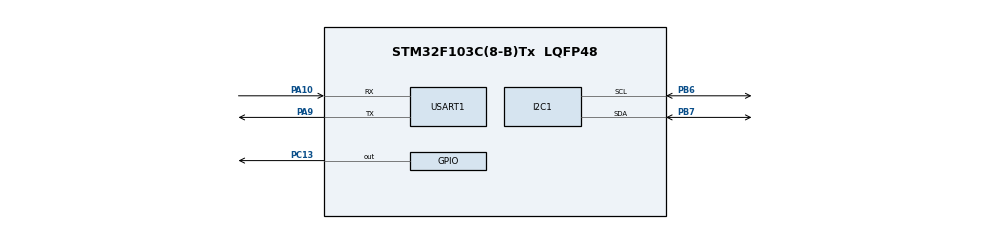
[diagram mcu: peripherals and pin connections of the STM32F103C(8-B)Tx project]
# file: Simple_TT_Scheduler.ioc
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Dma.Request0=USART1_RX
Dma.USART1_RX.0.Direction=DMA_PERIPH_TO_MEMORY
Dma.USART1_RX.0.Instance=DMA1_Channel5
Dma.USART1_RX.0.MemDataAlignment=DMA_MDATAALIGN_BYTE
Dma.USART1_RX.0.MemInc=DMA_MINC_ENABLE
Dma.USART1_RX.0.Mode=DMA_NORMAL
Dma.USART1_RX.0.PeriphDataAlignment=DMA_PDATAALIGN_BYTE
Dma.USART1_RX.0.PeriphInc=DMA_PINC_DISABLE
Dma.USART1_RX.0.Priority=DMA_PRIORITY_LOW
Mcu.Family=STM32F1
Mcu.Name=STM32F103C(8-B)Tx
Mcu.Package=LQFP48
NVIC.DMA1_Channel5_IRQn=true\:0\:0\:false\:false\:true\:false\:true\:true
NVIC.PriorityGroup=NVIC_PRIORITYGROUP_4
NVIC.TIM2_IRQn=true\:0\:0\:false\:false\:true\:true\:true\:true
NVIC.USART1_IRQn=true\:0\:0\:false\:false\:true\:true\:true\:true
PA10.Mode=Asynchronous
PA10.Signal=USART1_RX
PA13.Mode=Serial_Wire
PA13.Signal=SYS_JTMS-SWDIO
PA14.Mode=Serial_Wire
PA14.Signal=SYS_JTCK-SWCLK
PA9.Mode=Asynchronous
PA9.Signal=USART1_TX
PB6.Mode=I2C
PB6.Signal=I2C1_SCL
PB7.Mode=I2C
PB7.Signal=I2C1_SDA
PC13-TAMPER-RTC.Signal=GPIO_Output
ProjectManager.HeapSize=0x200
ProjectManager.StackSize=0x400
ProjectManager.TargetToolchain=CMake
RCC.AHBFreq_Value=36000000
RCC.APB1CLKDivider=RCC_HCLK_DIV2
RCC.APB1Freq_Value=18000000
RCC.APB1TimFreq_Value=36000000
RCC.APB2Freq_Value=36000000
RCC.APB2TimFreq_Value=36000000
RCC.HCLKFreq_Value=36000000
RCC.PLLMUL=RCC_PLL_MUL9
RCC.SYSCLKFreq_VALUE=36000000
RCC.SYSCLKSource=RCC_SYSCLKSOURCE_PLLCLK
RCC.USBFreq_Value=36000000
TIM2.Period=2000
TIM2.Prescaler=35999
USART1.VirtualMode=VM_ASYNC
VP_TIM2_VS_ClockSourceINT.Mode=Internal
board=custom

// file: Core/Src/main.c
/* USER CODE BEGIN Header */
/**
 ******************************************************************************
 * @file           : main.c
 * @brief          : Main program body
 ******************************************************************************
 * @attention
 *
 * Copyright (c) 2026 STMicroelectronics.
 * All rights reserved.
 *
 * This software is licensed under terms that can be found in the LICENSE file
 * in the root directory of this software component.
 * If no LICENSE file comes with this software, it is provided AS-IS.
 *
 ******************************************************************************
 */
/* USER CODE END Header */
#include "main.h"

/* USER CODE BEGIN Includes */
#include "mylib.h"
#include <string.h>
#include <stdio.h>
/* USER CODE END Includes */

I2C_HandleTypeDef hi2c1;

TIM_HandleTypeDef htim2;

UART_HandleTypeDef huart1;
DMA_HandleTypeDef hdma_usart1_rx;

I2C_LCD_HandleTypeDef hlcd1; // Tên phải khớp với biến trong i2c_lcd.c
sht3x_handle_t hsht3x;       // Tên phải khớp với biến khởi tạo SHT3x
uint8_t rx_buffer[15];       // Biến này bạn đã khai báo bên mylib.c
char disp[16];
/* USER CODE BEGIN PV */
hTask program;
volatile uint32_t tick_count = 0; // Biến đếm nhịp tim hệ thống
// Cờ báo hiệu đến chu kỳ P
// uint32_t period_p = 100;         // Ví dụ chu kỳ P là 100ms (dùng để quan sát/logic)

void UART_SendString(char *str)
{
  // Sử dụng HAL_UART_Transmit để gửi chuỗi
  // strlen(str) tự động tính toán độ dài chuỗi truyền vào
  // Timeout 100ms để đảm bảo không bị treo nếu bus UART bận
  HAL_UART_Transmit(&huart1, (uint8_t *)str, strlen(str), 100);
}

TaskFunction_t TaskTable[] =
    {
        update_sensor_data, // k=0
        display_temp,       // k=1
        display_humid,      // k=2
        send_humid_uart,
        send_temp_uart // k=3
};

#define TASK_COUNT (sizeof(TaskTable) / sizeof(TaskTable[0]))

// Khai báo các Task
// void Task1(void);
// void Task2(void);
// void Task3(void);

/* USER CODE END PV */

void SystemClock_Config(void);
static void MX_GPIO_Init(void);
static void MX_DMA_Init(void);
static void MX_TIM2_Init(void);
static void MX_I2C1_Init(void);
static void MX_USART1_UART_Init(void);

int main(void)
{

  /* USER CODE BEGIN 1 */
  hlcd1.hi2c = &hi2c1;
  hlcd1.address = 0x27 << 1;

  hsht3x.i2c_handle = &hi2c1;
  hsht3x.device_address = 0x44;

  /* USER CODE END 1 */

  /* MCU Configuration--------------------------------------------------------*/

  /* Reset of all peripherals, Initializes the Flash interface and the Systick. */
  HAL_Init();

  /* USER CODE BEGIN Init */
  sht3x_init(&hsht3x);
  lcd_init(&hlcd1);

  /* USER CODE END Init */

  /* Configure the system clock */
  SystemClock_Config();

  /* Initialize all configured peripherals */
  MX_GPIO_Init();
  MX_DMA_Init();
  MX_TIM2_Init();
  MX_I2C1_Init();
  MX_USART1_UART_Init();
  /* USER CODE BEGIN 2 */
  // 2. Khởi tạo cấu trúc quản lý task

  program.period = 1000; // Mặc định ban đầu P = 500ms
  // Cấp các con trỏ handle (tùy vào tên khai báo trong main.h)

  program.huart1 = &huart1;
  program.hlcd1 = &hlcd1;
  program.hsht3x = &hsht3x;

  // 3. Khởi động các chế độ ngắt và DMA

  HAL_UARTEx_ReceiveToIdle_DMA(program.huart1, rx_buffer, 15); // Lắng nghe UART
  HAL_TIM_Base_Start_IT(&htim2);
  HAL_UARTEx_ReceiveToIdle_DMA(program.huart1, rx_buffer, 15);

  snprintf(disp, sizeof(disp), "P:%dms", program.period);

  lcd_gotoxy(program.hlcd1, 0, 1);

  lcd_puts(program.hlcd1, disp);
  /* USER CODE END 2 */

  /* Infinite loop */
  /* USER CODE BEGIN WHILE */
  // Update_Scheduler_Period(10000);

  uint32_t last_time = HAL_GetTick();
  int k = 0;
  while (1)
  {
    // take_uart();

    /* USER CODE END WHILE */

    /* USER CODE BEGIN 3 */
    // --- NHÓM TASK ĐỊNH KỲ (Time-Triggered) ---

    // Kiểm tra nếu đã đủ thời gian P (tính bằng tick_count * 10ms)

    // if (HAL_GetTick()-last_time>program.period)
    // {
    //   last_time+=program.period;
    //   update_sensor_data(); // Đọc cảm biến

    //   display_temp(); // Hiển thị LCD
    //   display_humid();

    //   send_temp_uart(); // Gửi dữ liệu lên máy tính
    //   send_humid_uart();

    //   tick_count = 0; // Reset bộ đếm cho chu kỳ tiếp theo
    // }

    // // --- NHÓM TASK ĐÁP ỨNG NHANH (Background Task) ---
    // // Luôn chạy để bắt lệnh "SET:xxxx" và phản hồi log ngay lập tức
    // take_uart();
    // send_log_uart();

    // Mo hinh don nhiem 2:
    if (tick_count > program.period)
    {
      tick_count = 0;
      if (k == TASK_COUNT) k = 0;
      TaskTable[k]();
      k++;
    }
    take_uart();
    send_log_uart();
  }
  /* USER CODE END 3 */
}

void SystemClock_Config(void)
{
  RCC_OscInitTypeDef RCC_OscInitStruct = {0};
  RCC_ClkInitTypeDef RCC_ClkInitStruct = {0};

  /** Initializes the RCC Oscillators according to the specified parameters
   * in the RCC_OscInitTypeDef structure.
   */
  RCC_OscInitStruct.OscillatorType = RCC_OSCILLATORTYPE_HSE;
  RCC_OscInitStruct.HSEState = RCC_HSE_ON;
  RCC_OscInitStruct.HSEPredivValue = RCC_HSE_PREDIV_DIV1;
  RCC_OscInitStruct.HSIState = RCC_HSI_ON;
  RCC_OscInitStruct.PLL.PLLState = RCC_PLL_ON;
  RCC_OscInitStruct.PLL.PLLSource = RCC_PLLSOURCE_HSE;
  RCC_OscInitStruct.PLL.PLLMUL = RCC_PLL_MUL9;
  if (HAL_RCC_OscConfig(&RCC_OscInitStruct) != HAL_OK)
  {
    Error_Handler();
  }

  /** Initializes the CPU, AHB and APB buses clocks
   */
  RCC_ClkInitStruct.ClockType = RCC_CLOCKTYPE_HCLK | RCC_CLOCKTYPE_SYSCLK | RCC_CLOCKTYPE_PCLK1 | RCC_CLOCKTYPE_PCLK2;
  RCC_ClkInitStruct.SYSCLKSource = RCC_SYSCLKSOURCE_PLLCLK;
  RCC_ClkInitStruct.AHBCLKDivider = RCC_SYSCLK_DIV1;
  RCC_ClkInitStruct.APB1CLKDivider = RCC_HCLK_DIV2;
  RCC_ClkInitStruct.APB2CLKDivider = RCC_HCLK_DIV1;

  if (HAL_RCC_ClockConfig(&RCC_ClkInitStruct, FLASH_LATENCY_2) != HAL_OK)
  {
    Error_Handler();
  }
}

static void MX_I2C1_Init(void)
{

  hi2c1.Instance = I2C1;
  hi2c1.Init.ClockSpeed = 100000;
  hi2c1.Init.DutyCycle = I2C_DUTYCYCLE_2;
  hi2c1.Init.OwnAddress1 = 0;
  hi2c1.Init.AddressingMode = I2C_ADDRESSINGMODE_7BIT;
  hi2c1.Init.DualAddressMode = I2C_DUALADDRESS_DISABLE;
  hi2c1.Init.OwnAddress2 = 0;
  hi2c1.Init.GeneralCallMode = I2C_GENERALCALL_DISABLE;
  hi2c1.Init.NoStretchMode = I2C_NOSTRETCH_DISABLE;
  if (HAL_I2C_Init(&hi2c1) != HAL_OK)
  {
    Error_Handler();
  }
}

static void MX_TIM2_Init(void)
{

  TIM_ClockConfigTypeDef sClockSourceConfig = {0};
  TIM_MasterConfigTypeDef sMasterConfig = {0};

  /* USER CODE BEGIN TIM2_Init 1 */
  // 36Mhz
  /* USER CODE END TIM2_Init 1 */
  htim2.Instance = TIM2;
  htim2.Init.Prescaler = 35;
  htim2.Init.CounterMode = TIM_COUNTERMODE_UP;
  htim2.Init.Period = 999;
  htim2.Init.ClockDivision = TIM_CLOCKDIVISION_DIV1;
  htim2.Init.AutoReloadPreload = TIM_AUTORELOAD_PRELOAD_DISABLE;
  if (HAL_TIM_Base_Init(&htim2) != HAL_OK)
  {
    Error_Handler();
  }
  sClockSourceConfig.ClockSource = TIM_CLOCKSOURCE_INTERNAL;
  if (HAL_TIM_ConfigClockSource(&htim2, &sClockSourceConfig) != HAL_OK)
  {
    Error_Handler();
  }
  sMasterConfig.MasterOutputTrigger = TIM_TRGO_RESET;
  sMasterConfig.MasterSlaveMode = TIM_MASTERSLAVEMODE_DISABLE;
  if (HAL_TIMEx_MasterConfigSynchronization(&htim2, &sMasterConfig) != HAL_OK)
  {
    Error_Handler();
  }
}

static void MX_USART1_UART_Init(void)
{

  huart1.Instance = USART1;
  huart1.Init.BaudRate = 115200;
  huart1.Init.WordLength = UART_WORDLENGTH_8B;
  huart1.Init.StopBits = UART_STOPBITS_1;
  huart1.Init.Parity = UART_PARITY_NONE;
  huart1.Init.Mode = UART_MODE_TX_RX;
  huart1.Init.HwFlowCtl = UART_HWCONTROL_NONE;
  huart1.Init.OverSampling = UART_OVERSAMPLING_16;
  if (HAL_UART_Init(&huart1) != HAL_OK)
  {
    Error_Handler();
  }
}

static void MX_DMA_Init(void)
{

  /* DMA controller clock enable */
  __HAL_RCC_DMA1_CLK_ENABLE();

  /* DMA interrupt init */
  /* DMA1_Channel5_IRQn interrupt configuration */
  HAL_NVIC_SetPriority(DMA1_Channel5_IRQn, 0, 0);
  HAL_NVIC_EnableIRQ(DMA1_Channel5_IRQn);
}

static void MX_GPIO_Init(void)
{
  GPIO_InitTypeDef GPIO_InitStruct = {0};

  /* GPIO Ports Clock Enable */
  __HAL_RCC_GPIOC_CLK_ENABLE();
  __HAL_RCC_GPIOD_CLK_ENABLE();
  __HAL_RCC_GPIOA_CLK_ENABLE();
  __HAL_RCC_GPIOB_CLK_ENABLE();

  /*Configure GPIO pin Output Level */
  HAL_GPIO_WritePin(GPIOC, GPIO_PIN_13, GPIO_PIN_RESET);

  /*Configure GPIO pin : PC13 */
  GPIO_InitStruct.Pin = GPIO_PIN_13;
  GPIO_InitStruct.Mode = GPIO_MODE_OUTPUT_PP;
  GPIO_InitStruct.Pull = GPIO_NOPULL;
  GPIO_InitStruct.Speed = GPIO_SPEED_FREQ_LOW;
  HAL_GPIO_Init(GPIOC, &GPIO_InitStruct);

}

/* USER CODE BEGIN 4 */

void HAL_TIM_PeriodElapsedCallback(TIM_HandleTypeDef *htim)
{
  if (htim->Instance == TIM2) // Kiểm tra đúng Timer2
  {
    tick_count++;
  }
}
// void HAL_SYSTICK_Callback(void)
// {
//   tick_count++;
// }
// Định nghĩa nội dung các Task
// void Task1(void) {
//    // Code đọc cảm biến hoặc xử lý logic 1
//    // Lưu ý: Tuyệt đối không dùng HAL_Delay() ở đây
//}
//
// void Task2(void) {
//    // Code xử lý dữ liệu hoặc logic 2
//}
//
// void Task3(void) {
//    // Code xuất tín hiệu điều khiển hoặc hiển thị
//}
// Hàm update P
void Update_Scheduler_Period(uint32_t new_p_ms)
{
  // (Ví dụ: Clock 72MHz, Prescaler = 7199)

  uint32_t new_arr = new_p_ms - 1;

  // Cập nhật giá trị mới vào thanh ghi ARR của Timer
  __HAL_TIM_SET_AUTORELOAD(&htim2, new_arr);

  // Đảm bảo Timer cập nhật giá trị ngay lập tức
  HAL_TIM_GenerateEvent(&htim2, TIM_EVENTSOURCE_UPDATE);
}
/* USER CODE END 4 */

void Error_Handler(void)
{
  __disable_irq();
  while (1)
  {
  }
}
